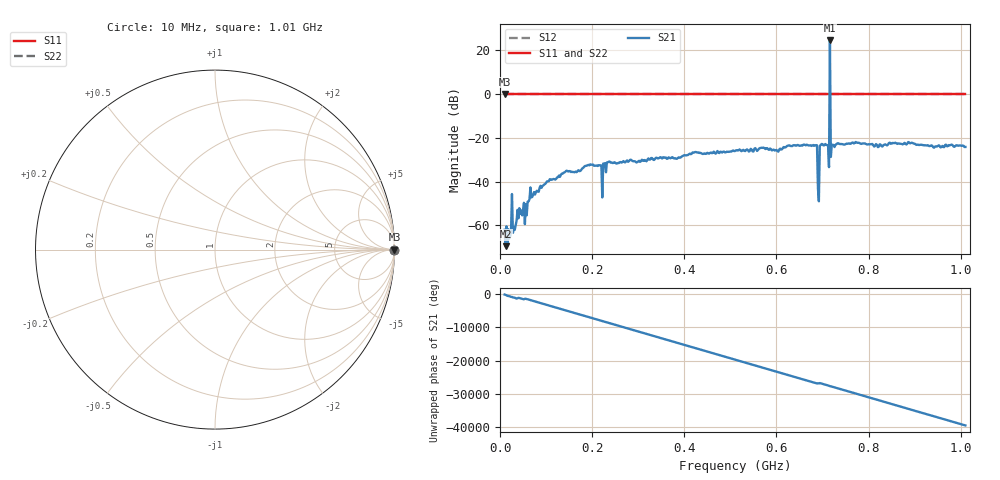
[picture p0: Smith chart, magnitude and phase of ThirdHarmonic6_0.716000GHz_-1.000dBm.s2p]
! 8/15/2025 11:56:50 PM
! C:\ANRITSUVNA\TEMP\TEMP.S2P
! CHANNEL.1
! TR.MEASUREMENT
! RAW.DATA
! RF.CORRECTION.OFF
! AVERAGING.OFF
! IF.BANDWIDTH: 5KHZ
! SWEEPTYPE:  FREQ.SWEEP(Linear)
! Reference Plane Port Info
! PORT:  PORT1  PORT2
! DISTANCE:  0  m  0  m
! TIME:  0  s  0  s
! PHASE.OFFSET:  0  deg.  0  deg.
! LOSS:  0  dB  0  dB
! REF.LOSS:  0  dB  0  dB
! REF.FREQ:  0  Hz  0  Hz
! Power Info
! POWER:  -20  dBm  -20  dBm
! EFF.POWER:  -20  dBm  -20  dBm
! SOURCE.ATTEN:  0  dB  0  dB
! TEST.ATTEN:  0  dB  0  dB
# GHZ S RI R 50.0
! FREQ.GHZ  S11RE  S11IM  S21RE  S21IM  S12RE  S12IM  S22RE  S22IM
!; PortSelection: Port_12
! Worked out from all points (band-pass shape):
!   501 points, 10 MHz to 1.01 GHz, reference 50 ohm
!   highest |S21| = 24.46 dB at 716 MHz (marker M1); lowest = -69.5 dB at 12 MHz (marker M2)
!   |S21| within 3 dB of the highest: 715.8963 MHz to 716.1128 MHz (216.5 kHz wide, 0.0302 % of centre)
!   lowest |S11| = 0.0 dB at 10 MHz (marker M3)
!   |S11| at or under -10 dB: nowhere
!   |S22| runs from 0.0 to 0.0 dB; largest |S21 - S12| = 16
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0.01  1 0  5.35e-05 -0.000791  1 0  1 0
0.012  1 0  -0.000335 1.94e-05  1 0  1 0
0.032  1 0  0.000708 0.000354  1 0  1 0
0.042  1 0  0.00174 -0.00176  1 0  1 0
0.058  1 0  0.00158 -0.000656  1 0  1 0
0.07  1 0  -0.00201 -0.00398  1 0  1 0
0.178  1 0  -0.0197 -0.00168  1 0  1 0
0.226  1 0  0.0189 0.0174  1 0  1 0
0.344  1 0  0.0293 -0.0172  1 0  1 0
0.51  1 0  -0.031 0.0393  1 0  1 0
0.678  1 0  -0.0649 -0.0166  1 0  1 0
0.684  1 0  0.0449 -0.0496  1 0  1 0
0.688  1 0  -0.0594 0.0319  1 0  1 0
0.694  1 0  -0.00146 -0.0653  1 0  1 0
0.698  1 0  -0.0197 0.0696  1 0  1 0
0.71  1 0  0.0635 -0.024  1 0  1 0
0.712  1 0  -0.0113 -0.0675  1 0  1 0
0.716  1 0  10.36 13.12  1 0  1 0
0.72  1 0  0.0311 -0.0626  1 0  1 0
0.722  1 0  -0.0557 -0.0407  1 0  1 0
0.844  1 0  0.0705 -0.0291  1 0  1 0
1.01  1 0  -0.0254 0.0564  1 0  1 0
